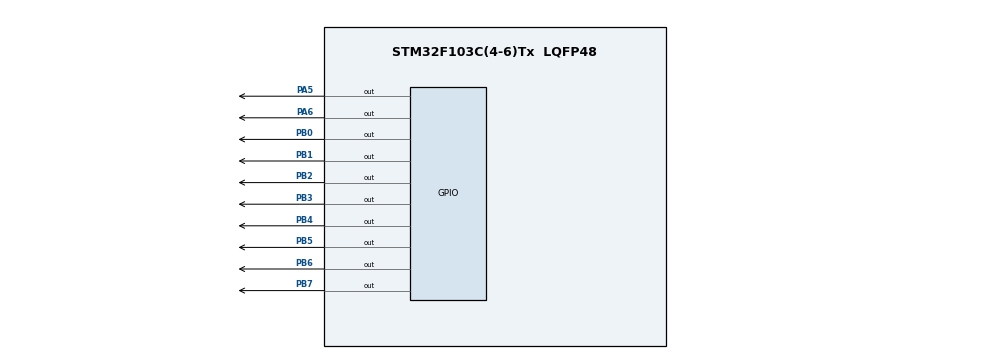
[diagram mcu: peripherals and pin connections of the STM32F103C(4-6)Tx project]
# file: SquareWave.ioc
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Mcu.Family=STM32F1
Mcu.Name=STM32F103C(4-6)Tx
Mcu.Package=LQFP48
NVIC.PriorityGroup=NVIC_PRIORITYGROUP_4
NVIC.TIM2_IRQn=true\:0\:0\:false\:false\:true\:true\:true
NVIC.TIM3_IRQn=true\:0\:0\:false\:false\:true\:true\:true
PA13.Mode=Serial_Wire
PA13.Signal=SYS_JTMS-SWDIO
PA14.Mode=Serial_Wire
PA14.Signal=SYS_JTCK-SWCLK
PA5.Signal=GPIO_Output
PA6.Signal=GPIO_Output
PB0.Signal=GPIO_Output
PB1.Signal=GPIO_Output
PB2.Signal=GPIO_Output
PB3.Signal=GPIO_Output
PB4.Signal=GPIO_Output
PB5.Signal=GPIO_Output
PB6.Signal=GPIO_Output
PB7.Signal=GPIO_Output
ProjectManager.HeapSize=0x200
ProjectManager.StackSize=0x400
ProjectManager.TargetToolchain=STM32CubeIDE
RCC.APB1Freq_Value=8000000
RCC.APB2Freq_Value=8000000
TIM2.Period=5
TIM2.Prescaler=799
TIM3.Period=5
TIM3.Prescaler=799
VP_TIM2_VS_ClockSourceINT.Mode=Internal
VP_TIM3_VS_ClockSourceINT.Mode=Internal
board=custom

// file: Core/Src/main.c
/* USER CODE BEGIN Header */
/**
  ******************************************************************************
  * @file           : main.c
  * @brief          : Main program body
  ******************************************************************************
  * @attention
  *
  * <h2><center>&copy; Copyright (c) 2021 STMicroelectronics.
  * All rights reserved.</center></h2>
  *
  * This software component is licensed by ST under BSD 3-Clause license,
  * the "License"; You may not use this file except in compliance with the
  * License. You may obtain a copy of the License at:
  *                        opensource.org/licenses/BSD-3-Clause
  *
  ******************************************************************************
  */
/* USER CODE END Header */
#include "main.h"

TIM_HandleTypeDef htim2;
TIM_HandleTypeDef htim3;

void SystemClock_Config(void);
static void MX_GPIO_Init(void);
static void MX_TIM3_Init(void);
static void MX_TIM2_Init(void);

int main(void)
{

  /* MCU Configuration--------------------------------------------------------*/

  /* Reset of all peripherals, Initializes the Flash interface and the Systick. */
  HAL_Init();

  /* Configure the system clock */
  SystemClock_Config();

  /* Initialize all configured peripherals */
  MX_GPIO_Init();
  MX_TIM3_Init();
  MX_TIM2_Init();
  /* USER CODE BEGIN 2 */
  HAL_TIM_Base_Start_IT(&htim3);
  HAL_TIM_Base_Start_IT(&htim2);
  /* USER CODE END 2 */

  /* Infinite loop */
  /* USER CODE BEGIN WHILE */
  int count = 0;
  while (1)
  {
    /* USER CODE END WHILE */

    /* USER CODE BEGIN 3 */

/*
	  for (int i = 0; i < 10; i++){
		  HAL_GPIO_TogglePin(GPIOA, GPIO_PIN_5);
		  HAL_Delay(5); // FREQUENCY = 100 HZ;
	  }
	  HAL_GPIO_TogglePin(GPIOA, GPIO_PIN_6); // FREQUENCY = 10 HZ;
*/
	  if(count > 0) count--;
	  else {
		  count = 25;
		  HAL_GPIO_TogglePin (GPIOA, GPIO_PIN_5);
	  }
	  HAL_Delay(1);
	  //HAL_GPIO_TogglePin (GPIOA, GPIO_PIN_5);
  }
  /* USER CODE END 3 */
}

void SystemClock_Config(void)
{
  RCC_OscInitTypeDef RCC_OscInitStruct = {0};
  RCC_ClkInitTypeDef RCC_ClkInitStruct = {0};

  /** Initializes the RCC Oscillators according to the specified parameters
  * in the RCC_OscInitTypeDef structure.
  */
  RCC_OscInitStruct.OscillatorType = RCC_OSCILLATORTYPE_HSI;
  RCC_OscInitStruct.HSIState = RCC_HSI_ON;
  RCC_OscInitStruct.HSICalibrationValue = RCC_HSICALIBRATION_DEFAULT;
  RCC_OscInitStruct.PLL.PLLState = RCC_PLL_NONE;
  if (HAL_RCC_OscConfig(&RCC_OscInitStruct) != HAL_OK)
  {
    Error_Handler();
  }
  /** Initializes the CPU, AHB and APB buses clocks
  */
  RCC_ClkInitStruct.ClockType = RCC_CLOCKTYPE_HCLK|RCC_CLOCKTYPE_SYSCLK
                              |RCC_CLOCKTYPE_PCLK1|RCC_CLOCKTYPE_PCLK2;
  RCC_ClkInitStruct.SYSCLKSource = RCC_SYSCLKSOURCE_HSI;
  RCC_ClkInitStruct.AHBCLKDivider = RCC_SYSCLK_DIV1;
  RCC_ClkInitStruct.APB1CLKDivider = RCC_HCLK_DIV1;
  RCC_ClkInitStruct.APB2CLKDivider = RCC_HCLK_DIV1;

  if (HAL_RCC_ClockConfig(&RCC_ClkInitStruct, FLASH_LATENCY_0) != HAL_OK)
  {
    Error_Handler();
  }
}

static void MX_TIM2_Init(void)
{

  TIM_ClockConfigTypeDef sClockSourceConfig = {0};
  TIM_MasterConfigTypeDef sMasterConfig = {0};

  htim2.Instance = TIM2;
  htim2.Init.Prescaler = 799;
  htim2.Init.CounterMode = TIM_COUNTERMODE_UP;
  htim2.Init.Period = 5;
  htim2.Init.ClockDivision = TIM_CLOCKDIVISION_DIV1;
  htim2.Init.AutoReloadPreload = TIM_AUTORELOAD_PRELOAD_DISABLE;
  if (HAL_TIM_Base_Init(&htim2) != HAL_OK)
  {
    Error_Handler();
  }
  sClockSourceConfig.ClockSource = TIM_CLOCKSOURCE_INTERNAL;
  if (HAL_TIM_ConfigClockSource(&htim2, &sClockSourceConfig) != HAL_OK)
  {
    Error_Handler();
  }
  sMasterConfig.MasterOutputTrigger = TIM_TRGO_RESET;
  sMasterConfig.MasterSlaveMode = TIM_MASTERSLAVEMODE_DISABLE;
  if (HAL_TIMEx_MasterConfigSynchronization(&htim2, &sMasterConfig) != HAL_OK)
  {
    Error_Handler();
  }

}

static void MX_TIM3_Init(void)
{

  TIM_ClockConfigTypeDef sClockSourceConfig = {0};
  TIM_MasterConfigTypeDef sMasterConfig = {0};

  htim3.Instance = TIM3;
  htim3.Init.Prescaler = 799;
  htim3.Init.CounterMode = TIM_COUNTERMODE_UP;
  htim3.Init.Period = 5;
  htim3.Init.ClockDivision = TIM_CLOCKDIVISION_DIV1;
  htim3.Init.AutoReloadPreload = TIM_AUTORELOAD_PRELOAD_DISABLE;
  if (HAL_TIM_Base_Init(&htim3) != HAL_OK)
  {
    Error_Handler();
  }
  sClockSourceConfig.ClockSource = TIM_CLOCKSOURCE_INTERNAL;
  if (HAL_TIM_ConfigClockSource(&htim3, &sClockSourceConfig) != HAL_OK)
  {
    Error_Handler();
  }
  sMasterConfig.MasterOutputTrigger = TIM_TRGO_RESET;
  sMasterConfig.MasterSlaveMode = TIM_MASTERSLAVEMODE_DISABLE;
  if (HAL_TIMEx_MasterConfigSynchronization(&htim3, &sMasterConfig) != HAL_OK)
  {
    Error_Handler();
  }

}

static void MX_GPIO_Init(void)
{
  GPIO_InitTypeDef GPIO_InitStruct = {0};

  /* GPIO Ports Clock Enable */
  __HAL_RCC_GPIOA_CLK_ENABLE();
  __HAL_RCC_GPIOB_CLK_ENABLE();

  /*Configure GPIO pin Output Level */
  HAL_GPIO_WritePin(GPIOA, GPIO_PIN_5|GPIO_PIN_6, GPIO_PIN_RESET);

  /*Configure GPIO pin Output Level */
  HAL_GPIO_WritePin(GPIOB, GPIO_PIN_0|GPIO_PIN_1|GPIO_PIN_2|GPIO_PIN_3
                          |GPIO_PIN_4|GPIO_PIN_5|GPIO_PIN_6|GPIO_PIN_7, GPIO_PIN_RESET);

  /*Configure GPIO pins : PA5 PA6 */
  GPIO_InitStruct.Pin = GPIO_PIN_5|GPIO_PIN_6;
  GPIO_InitStruct.Mode = GPIO_MODE_OUTPUT_PP;
  GPIO_InitStruct.Pull = GPIO_NOPULL;
  GPIO_InitStruct.Speed = GPIO_SPEED_FREQ_LOW;
  HAL_GPIO_Init(GPIOA, &GPIO_InitStruct);

  /*Configure GPIO pins : PB0 PB1 PB2 PB3
                           PB4 PB5 PB6 PB7 */
  GPIO_InitStruct.Pin = GPIO_PIN_0|GPIO_PIN_1|GPIO_PIN_2|GPIO_PIN_3
                          |GPIO_PIN_4|GPIO_PIN_5|GPIO_PIN_6|GPIO_PIN_7;
  GPIO_InitStruct.Mode = GPIO_MODE_OUTPUT_PP;
  GPIO_InitStruct.Pull = GPIO_NOPULL;
  GPIO_InitStruct.Speed = GPIO_SPEED_FREQ_LOW;
  HAL_GPIO_Init(GPIOB, &GPIO_InitStruct);

}

/* USER CODE BEGIN 4 */

uint8_t freq10Hz = 0;
uint8_t freq100Hz = 0;

uint16_t cntTIM2 = 0;
uint16_t cntTIM3 = 0;
int cnt = 0;
char NUM = 0;
void HAL_TIM_PeriodElapsedCallback ( TIM_HandleTypeDef * htim )
{
	// EX 5
/*
	if (++freq10Hz == 100){
		HAL_GPIO_TogglePin(GPIOA, GPIO_PIN_6);
		freq10Hz = 0;
	}
	if (++freq100Hz == 10){
		HAL_GPIO_TogglePin(GPIOA, GPIO_PIN_5);
		freq100Hz = 0;
	}

	// EX 4

/*
	if (htim->Instance == TIM2){
		if (++cntTIM2 == 100){
			HAL_GPIO_TogglePin(GPIOA, GPIO_PIN_5);
			cntTIM2 = 0;
		}
	}
	else if (htim->Instance == TIM3){
		if (++cntTIM3 == 10){
			HAL_GPIO_TogglePin(GPIOA, GPIO_PIN_6);
			cntTIM3 = 0;
		}
	}
*/
// EX 6
	/*
	if (++cnt == 2000){
		GPIOB->BSRR = (uint32_t)NUM << 16 | ~NUM;
		cnt = 0;
		NUM ++;
	}*/
	//HAL_GPIO_TogglePin(GPIOA, GPIO_PIN_5);
}

/* USER CODE END 4 */

void Error_Handler(void)
{
  __disable_irq();
  while (1)
  {
  }
}

/************************ (C) COPYRIGHT STMicroelectronics *****END OF FILE****/
